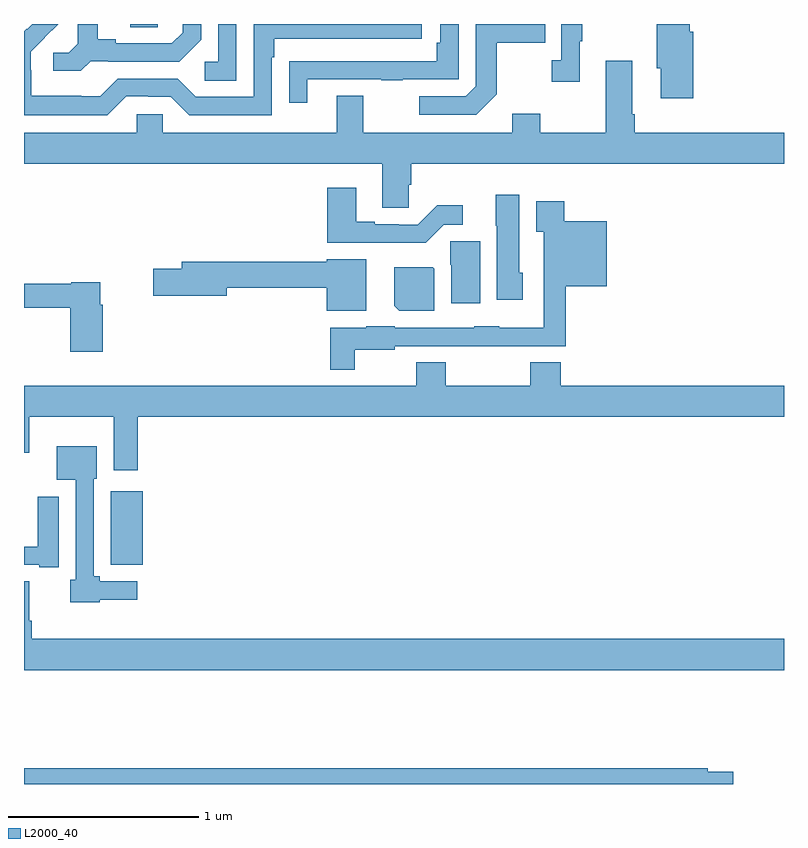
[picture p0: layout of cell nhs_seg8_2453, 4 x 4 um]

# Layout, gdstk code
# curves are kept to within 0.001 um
import gdstk
lib = gdstk.Library(unit=1e-6, precision=1e-09)
def R(c, l, rs):  # rectangles x0, y0, x1, y1
    for r in rs: c.add(gdstk.rectangle(r[:2], r[2:], *l))
def P(c, l, *ps):  # polygons
    for p in ps: c.add(gdstk.Polygon(p, *l))
L2000_40 = (2000, 40)

nhs_seg8_2453 = lib.new_cell('nhs_seg8_2453')
R(nhs_seg8_2453, L2000_40, [(265.457,1117.055,265.624,1117.441), (265.559,1119.883,265.704,1119.9)])
P(nhs_seg8_2453, L2000_40, [(267.487,1119.529),(267.487,1119.802),(267.743,1119.802),(267.743,1119.9),(267.378,1119.9),(267.378,1119.573),(267.324,1119.519),(267.081,1119.519),(267.081,1119.423),(267.381,1119.423)],
  [(265.35,1119.705),(265.444,1119.705),(265.444,1119.702),(265.816,1119.702),(265.932,1119.818),(265.932,1119.9),(265.835,1119.9),(265.835,1119.855),(265.778,1119.798),(265.483,1119.798),(265.483,1119.821),(265.387,1119.821),(265.387,1119.9),(265.283,1119.9),(265.283,1119.797),(265.236,1119.75),(265.155,1119.75),(265.155,1119.653),(265.298,1119.653)],
  [(266.491,1119.609),(266.881,1119.609),(266.881,1119.604),(266.993,1119.604),(266.993,1119.609),(267.288,1119.609),(267.288,1119.9),(267.192,1119.9),(267.192,1119.802),(267.172,1119.802),(267.172,1119.705),(266.497,1119.705),(266.497,1119.704),(266.395,1119.704),(266.395,1119.486),(266.491,1119.486)],
  [(268.523,1119.858),(268.505,1119.858),(268.505,1119.9),(268.33,1119.9),(268.33,1119.666),(268.352,1119.666),(268.352,1119.51),(268.523,1119.51)],
  [(266.118,1119.9),(266.022,1119.9),(266.022,1119.702),(265.95,1119.702),(265.95,1119.601),(266.118,1119.601)],
  [(267.925,1119.809),(267.937,1119.809),(267.937,1119.9),(267.828,1119.9),(267.828,1119.71),(267.777,1119.71),(267.777,1119.597),(267.925,1119.597)],
  [(265.539,1119.519),(265.655,1119.519),(265.655,1119.516),(265.773,1119.516),(265.869,1119.42),(266.304,1119.42),(266.304,1119.725),(266.317,1119.725),(266.317,1119.822),(267.094,1119.822),(267.094,1119.9),(266.208,1119.9),(266.208,1119.516),(265.905,1119.516),(265.809,1119.612),(265.494,1119.612),(265.401,1119.519),(265.301,1119.519),(265.301,1119.523),(265.038,1119.523),(265.038,1119.657),(265.036,1119.657),(265.036,1119.754),(265.18,1119.9),(265.044,1119.9),(265.017,1119.873),(265.014,1119.876),(265,1119.862),(265,1119.419),(265.439,1119.419)],
  [(267.024,1119.054),(267.038,1119.054),(267.038,1119.164),(269,1119.164),(269,1119.328),(268.214,1119.328),(268.214,1119.424),(268.201,1119.424),(268.201,1119.706),(268.061,1119.706),(268.061,1119.328),(267.717,1119.328),(267.717,1119.427),(267.569,1119.427),(267.569,1119.328),(266.785,1119.328),(266.785,1119.523),(266.645,1119.523),(266.645,1119.328),(265.731,1119.328),(265.731,1119.426),(265.593,1119.426),(265.593,1119.328),(265,1119.328),(265,1119.164),(266.885,1119.164),(266.885,1118.932),(267.024,1118.932)],
  [(267.21,1118.844),(267.31,1118.844),(267.31,1118.947),(267.175,1118.947),(267.072,1118.844),(266.972,1118.844),(266.972,1118.847),(266.845,1118.847),(266.845,1118.86),(266.749,1118.86),(266.749,1119.037),(266.597,1119.037),(266.597,1118.75),(267.115,1118.75)],
  [(267.625,1118.592),(267.607,1118.592),(267.607,1119.001),(267.482,1119.001),(267.482,1118.838),(267.488,1118.838),(267.488,1118.448),(267.625,1118.448)],
  [(266.74,1118.186),(266.952,1118.186),(266.952,1118.205),(267.369,1118.205),(267.369,1118.204),(267.601,1118.204),(267.601,1118.205),(267.851,1118.205),(267.851,1118.519),(268.066,1118.519),(268.066,1118.863),(267.844,1118.863),(267.844,1118.968),(267.695,1118.968),(267.695,1118.807),(267.735,1118.807),(267.735,1118.302),(267.501,1118.302),(267.501,1118.308),(267.369,1118.308),(267.369,1118.301),(266.952,1118.301),(266.952,1118.308),(266.802,1118.308),(266.802,1118.302),(266.611,1118.302),(266.611,1118.081),(266.74,1118.081)],
  [(267.4,1118.757),(267.244,1118.757),(267.244,1118.634),(267.248,1118.634),(267.248,1118.43),(267.4,1118.43)],
  [(266.8,1118.662),(266.594,1118.662),(266.594,1118.648),(265.829,1118.648),(265.829,1118.612),(265.68,1118.612),(265.68,1118.47),(266.068,1118.47),(266.068,1118.512),(266.594,1118.512),(266.594,1118.39),(266.8,1118.39)],
  [(267.16,1118.612),(267.152,1118.62),(266.948,1118.62),(266.948,1118.416),(266.974,1118.39),(267.16,1118.39)],
  [(265.415,1118.423),(265.402,1118.423),(265.402,1118.542),(265.248,1118.542),(265.248,1118.534),(265,1118.534),(265,1118.406),(265.244,1118.406),(265.244,1118.175),(265.415,1118.175)],
  [(265.598,1117.832),(269,1117.832),(269,1117.996),(267.824,1117.996),(267.824,1118.12),(267.664,1118.12),(267.664,1117.996),(267.219,1117.996),(267.219,1118.12),(267.064,1118.12),(267.064,1117.996),(265,1117.996),(265,1117.643),(265.027,1117.643),(265.027,1117.832),(265.472,1117.832),(265.472,1117.551),(265.598,1117.551)],
  [(265.398,1116.869),(265.597,1116.869),(265.597,1116.966),(265.398,1116.966),(265.398,1116.994),(265.368,1116.994),(265.368,1117.506),(265.384,1117.506),(265.384,1117.678),(265.172,1117.678),(265.172,1117.502),(265.272,1117.502),(265.272,1116.975),(265.244,1116.975),(265.244,1116.857),(265.398,1116.857)],
  [(265.183,1117.411),(265.073,1117.411),(265.073,1117.149),(265,1117.149),(265,1117.053),(265.079,1117.053),(265.079,1117.041),(265.183,1117.041)],
  [(269,1116.664),(265.04,1116.664),(265.04,1116.76),(265.027,1116.76),(265.027,1116.968),(265,1116.968),(265,1116.5),(269,1116.5)],
  [(268.732,1115.964),(268.598,1115.964),(268.598,1115.984),(265,1115.984),(265,1115.9),(268.732,1115.9)])

lib.write_gds('nhs_seg8_2453.gds')
